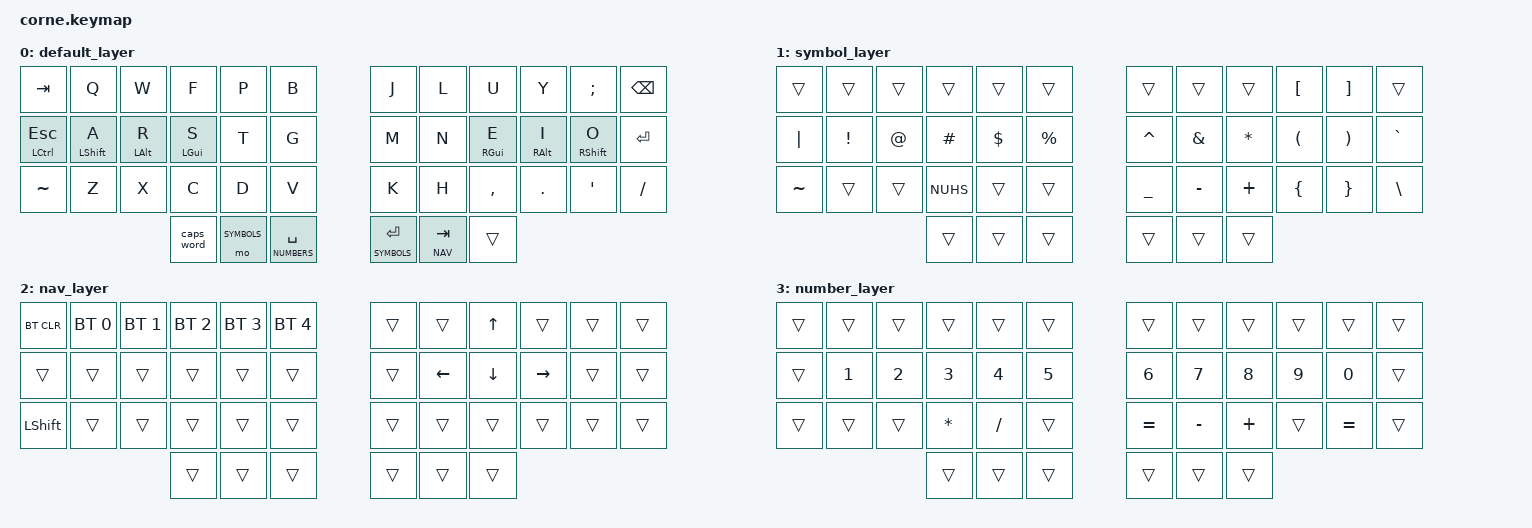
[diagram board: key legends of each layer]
/*
 * Copyright (c) 2020 The ZMK Contributors
 *
 * SPDX-License-Identifier: MIT
 */

#include <behaviors.dtsi>
#include <dt-bindings/zmk/keys.h>
#include <dt-bindings/zmk/bt.h>

#define DEFAULT 0
#define SYMBOLS 1
#define NAV 2
#define NUMBERS 3

/ {

        behaviors {
            hml: homerow_mods_left {
                compatible = "zmk,behavior-hold-tap";
                #binding-cells = <2>;
                tapping-term-ms = <200>;    // <---[[moderate duration]]
                quick-tap-ms = <0>;
                require-prior-idle-ms = <150>;
                flavor = "tap-preferred";
                bindings = <&kp>, <&kp>;
                hold-trigger-key-positions = <6 7 8 9 10 11 18 19 20 21 22 23 30 31 32 33 34 35 39 40 41>;
                hold-trigger-on-release;
            };
            hmr: homerow_mods_right {
                compatible = "zmk,behavior-hold-tap";
                #binding-cells = <2>;
                tapping-term-ms = <200>;    // <---[[moderate duration]]
                quick-tap-ms = <0>;
                require-prior-idle-ms = <150>;
                flavor = "tap-preferred";
                bindings = <&kp>, <&kp>;
                hold-trigger-key-positions = <0 1 2 3 4 5 12 13 14 15 16 17 24 25 26 27 28 29 36 37 38>;
                hold-trigger-on-release;
            };
        };

        keymap {
                compatible = "zmk,keymap";

                default_layer {
// -------------------------------------------------------------------------------------------------------------
// |   TAB    |   Q    |   W   |   F   |  P  |    B    |  ||    J    |    L    |   U   |   Y   |   ;    | BSPC |
// | ESC/CTRL | A/SHFT | R/ALT | S/GUI |  T  |    G    |  ||    M    |    N    | E/GUI | I/ALT | O/SHFT | RET  |
// |    ~     |   Z    |   X   |   C   |  D  |    V    |  ||    K    |    H    |   ,   |   .   |   '    |  /   |
// |          |        |       |  CAPS | SYM | SPC/NUM |  || RET/SYM | TAB/NAV |   ·   |       |        |      |
                        bindings = <
   &kp TAB         &kp Q         &kp W        &kp F        &kp P        &kp B                &kp J            &kp L        &kp U        &kp Y        &kp SEMI      &kp BSPC
   &hml LCTRL ESC  &hml LSHFT A  &hml LALT R  &hml LGUI S  &kp T        &kp G                &kp M            &kp N        &hmr RGUI E  &hmr RALT I  &hmr RSHFT O  &kp RET
   &kp TILDE       &kp Z         &kp X        &kp C        &kp D        &kp V                &kp K            &kp H        &kp COMMA    &kp DOT      &kp SQT       &kp FSLH
                                              &caps_word   &mo SYMBOLS  &lt NUMBERS SPACE    &lt SYMBOLS RET  &lt NAV TAB  &trans
                        >;
                };

                symbol_layer {
// --------------------------------------------------------
// |  ·   | · | · | · | · | · |  || · | · | · | [ | ] | · |
// | PIPE | ! | @ | # | $ | % |  || ^ | & | * | ( | ) | ` |
// |  ~   | · | · | # | · | · |  || _ | - | + | { | } | \ |
// |      |   |   | · | · | · |  || · | · | · |   |   |   |
                        bindings = <
   &trans     &trans    &trans  &trans    &trans    &trans       &trans     &trans     &trans     &kp LBKT  &kp RBKT  &trans
   &kp PIPE   &kp EXCL  &kp AT  &kp HASH  &kp DLLR  &kp PRCNT    &kp CARET  &kp AMPS   &kp ASTRK  &kp LPAR  &kp RPAR  &kp GRAVE
   &kp TILDE  &trans    &trans  &kp NUHS  &trans    &trans       &kp UNDER  &kp MINUS  &kp PLUS   &kp LBRC  &kp RBRC  &kp BSLH
                                &trans    &trans    &trans       &trans     &trans     &trans
                        >;
                };

                nav_layer {
// ----------------------------------------------------------------------
// | BTCLR | BT0 | BT1 | BT2 | BT3 | BT4 |  || · | ·  | UP | ·  | · | · |
// |   ·   |  ·  |  ·  |  ·  |  ·  |  ·  |  || · | LT | DN | RT | · | · |
// |  SHFT |  ·  |  ·  |  ·  |  ·  |  ·  |  || · | ·  | ·  | ·  | · | · |
// |       |     |     |  ·  |  ·  |  ·  |  || · | ·  | ·  |    |   |   |
                        bindings = <
   &bt BT_CLR  &bt BT_SEL 0  &bt BT_SEL 1  &bt BT_SEL 2  &bt BT_SEL 3  &bt BT_SEL 4    &trans  &trans    &kp UP    &trans     &trans  &trans
   &trans      &trans        &trans        &trans        &trans        &trans          &trans  &kp LEFT  &kp DOWN  &kp RIGHT  &trans  &trans
   &kp LSHFT   &trans        &trans        &trans        &trans        &trans          &trans  &trans    &trans    &trans     &trans  &trans
                                           &trans        &trans        &trans          &trans  &trans    &trans
                        >;
                };

                number_layer {
// -----------------------------------------------------
// | · | · | · | · | · | · |  || · | · | · | · | · | · |
// | · | 1 | 2 | 3 | 4 | 5 |  || 6 | 7 | 8 | 9 | 0 | · |
// | · | · | · | * | / | · |  || = | - | + | · | = | · |
// |   |   |   | · | · | · |  || · | · | · |   |   |   |
                        bindings = <
   &trans  &trans  &trans  &trans     &trans    &trans    &trans     &trans     &trans    &trans  &trans     &trans
   &trans  &kp N1  &kp N2  &kp N3     &kp N4    &kp N5    &kp N6     &kp N7     &kp N8    &kp N9  &kp N0     &trans
   &trans  &trans  &trans  &kp ASTRK  &kp FSLH  &trans    &kp EQUAL  &kp MINUS  &kp PLUS  &trans  &kp EQUAL  &trans
                           &trans     &trans    &trans    &trans     &trans     &trans
                        >;
                };
        };
};
